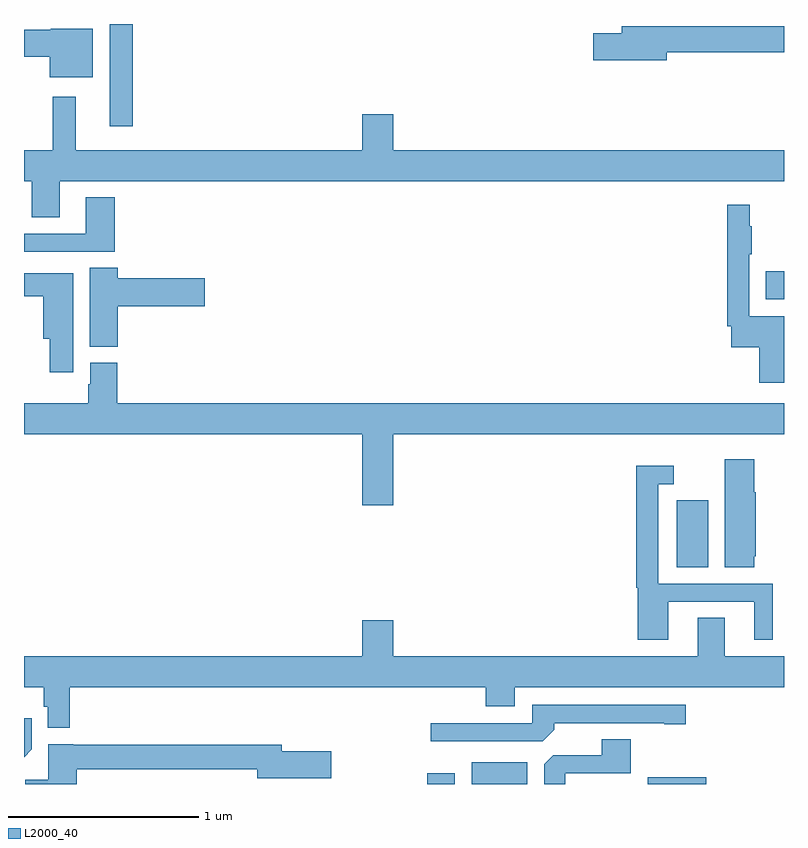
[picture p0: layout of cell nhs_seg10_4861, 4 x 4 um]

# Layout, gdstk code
import gdstk
lib = gdstk.Library(unit=1e-6, precision=1e-09)
def R(c, l, rs):  # rectangles x0, y0, x1, y1
    for r in rs: c.add(gdstk.rectangle(r[:2], r[2:], *l))
def P(c, l, *ps):  # polygons
    for p in ps: c.add(gdstk.Polygon(p, *l))
L2000_40 = (2000, 40)

nhs_seg10_4861 = lib.new_cell('nhs_seg10_4861')
R(nhs_seg10_4861, L2000_40, [(393.122,1274.5,393.268,1274.557), (393.356,1274.5,393.649,1274.614), (394.284,1274.5,394.591,1274.536), (394.436,1275.64,394.6,1275.994), (394.903,1277.051,395,1277.199), (391.451,1277.961,391.573,1278.5)])
P(nhs_seg10_4861, L2000_40, [(394.384,1278.352),(395,1278.352),(395,1278.488),(394.145,1278.488),(394.145,1278.452),(393.996,1278.452),(393.996,1278.31),(394.384,1278.31)],
  [(391.363,1278.475),(391.14,1278.475),(391.14,1278.47),(391,1278.47),(391,1278.328),(391.136,1278.328),(391.136,1278.221),(391.363,1278.221)],
  [(391.189,1277.672),(395,1277.672),(395,1277.836),(392.944,1277.836),(392.944,1278.025),(392.78,1278.025),(392.78,1277.836),(391.273,1277.836),(391.273,1278.118),(391.152,1278.118),(391.152,1277.836),(391,1277.836),(391,1277.672),(391.042,1277.672),(391.042,1277.482),(391.189,1277.482)],
  [(391.478,1277.587),(391.325,1277.587),(391.325,1277.397),(391,1277.397),(391,1277.301),(391.478,1277.301)],
  [(395,1276.963),(394.818,1276.963),(394.818,1277.287),(394.831,1277.287),(394.831,1277.435),(394.82,1277.435),(394.82,1277.548),(394.702,1277.548),(394.702,1276.909),(394.722,1276.909),(394.722,1276.798),(394.871,1276.798),(394.871,1276.611),(395,1276.611)],
  [(391.493,1277.015),(391.951,1277.015),(391.951,1277.162),(391.493,1277.162),(391.493,1277.216),(391.346,1277.216),(391.346,1276.801),(391.493,1276.801)],
  [(391.258,1277.188),(391,1277.188),(391,1277.066),(391.1,1277.066),(391.1,1276.844),(391.136,1276.844),(391.136,1276.668),(391.258,1276.668)],
  [(392.944,1276.34),(395,1276.34),(395,1276.504),(391.49,1276.504),(391.49,1276.716),(391.349,1276.716),(391.349,1276.605),(391.337,1276.605),(391.337,1276.504),(391,1276.504),(391,1276.34),(392.78,1276.34),(392.78,1275.966),(392.944,1275.966)],
  [(394.843,1275.699),(394.852,1275.699),(394.852,1276.035),(394.843,1276.035),(394.843,1276.21),(394.688,1276.21),(394.688,1275.64),(394.843,1275.64)],
  [(394.39,1275.459),(394.844,1275.459),(394.844,1275.258),(394.942,1275.258),(394.942,1275.555),(394.338,1275.555),(394.338,1276.077),(394.42,1276.077),(394.42,1276.174),(394.222,1276.174),(394.222,1275.534),(394.229,1275.534),(394.229,1275.258),(394.39,1275.258)],
  [(394.547,1275.374),(394.547,1275.172),(392.944,1275.172),(392.944,1275.361),(392.78,1275.361),(392.78,1275.172),(391,1275.172),(391,1275.008),(391.105,1275.008),(391.105,1274.907),(391.125,1274.907),(391.125,1274.795),(391.241,1274.795),(391.241,1275.008),(393.431,1275.008),(393.431,1274.909),(393.583,1274.909),(393.583,1275.008),(395,1275.008),(395,1275.172),(394.687,1275.172),(394.687,1275.374)],
  [(393.791,1274.786),(393.791,1274.82),(394.37,1274.82),(394.37,1274.815),(394.483,1274.815),(394.483,1274.916),(393.675,1274.916),(393.675,1274.82),(393.141,1274.82),(393.141,1274.724),(393.729,1274.724)],
  [(391.04,1274.682),(391.04,1274.845),(391,1274.845),(391,1274.642)],
  [(393.849,1274.556),(394.193,1274.556),(394.193,1274.735),(394.04,1274.735),(394.04,1274.652),(393.786,1274.652),(393.737,1274.603),(393.737,1274.5),(393.849,1274.5)],
  [(391.277,1274.578),(392.228,1274.578),(392.228,1274.531),(392.617,1274.531),(392.617,1274.673),(392.356,1274.673),(392.356,1274.707),(391.26,1274.707),(391.26,1274.71),(391.127,1274.71),(391.127,1274.522),(391.006,1274.522),(391.006,1274.5),(391.277,1274.5)])

lib.write_gds('nhs_seg10_4861.gds')
